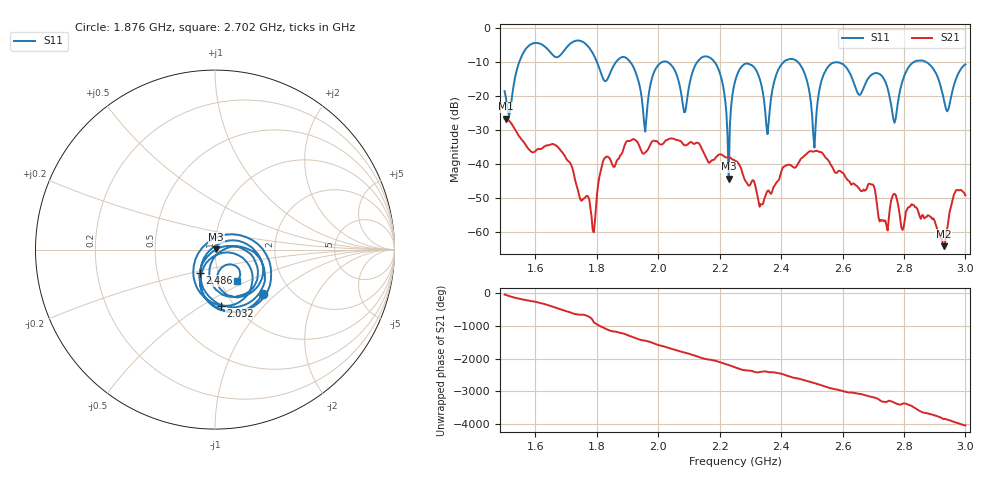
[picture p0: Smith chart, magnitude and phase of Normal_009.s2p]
# HZ S RI R 50
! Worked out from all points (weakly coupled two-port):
!   404 points, 1.5 GHz to 3 GHz, reference 50 ohm
!   highest |S21| = -26.68 dB at 1.504 GHz (marker M1); lowest = -64.2 dB at 2.929 GHz (marker M2)
!   lowest |S11| = -44.3 dB at 2.23 GHz (marker M3), VSWR 1.01, Z = 50.6 + j0.102 ohm
!   |S11| at or under -10 dB: 2.184 GHz to 2.408 GHz (224.6 MHz wide, 9.78 % of centre); 2.455 GHz to 2.832 GHz (377.1 MHz wide, 14.3 % of centre); 2.873 GHz to end of sweep (the widest 3 of 7)
!   S12 and S22 are empty: the file has one direction only
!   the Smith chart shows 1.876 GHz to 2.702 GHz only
!   S11 on the Smith chart (normalised r, x): 1.876 GHz: 1.46, -0.82; 2.032 GHz: 0.87, -0.60; 2.486 GHz: 0.82, -0.22; 2.702 GHz: 1.19, -0.44
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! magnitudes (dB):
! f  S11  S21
! 1.5 GHz  -18.5  -26.7
! 1.504 GHz  -20.2  -26.7
! 1.753 GHz  -4.0  -50.6
! 1.876 GHz  -8.8  -37.5
! 1.958 GHz  -30.5  -36.6
! 2.002 GHz  -10.6  -34.0
! 2.032 GHz  -10.1  -32.8
! 2.084 GHz  -24.8  -34.4
! 2.181 GHz  -9.7  -38.8
! 2.23 GHz  -44.3  -38.0
! 2.252 GHz  -15.2  -39.1
! 2.334 GHz  -16.0  -51.8
! 2.356 GHz  -31.2  -47.9
! 2.408 GHz  -10.0  -40.9
! 2.486 GHz  -16.2  -36.7
! 2.501 GHz  -25.9  -36.3
! 2.561 GHz  -10.7  -40.1
! 2.702 GHz  -13.4  -46.5
! 2.751 GHz  -19.1  -56.1
! 2.855 GHz  -9.5  -56.2
! 2.929 GHz  -20.8  -64.2
! 3 GHz  -10.6  -49.2
